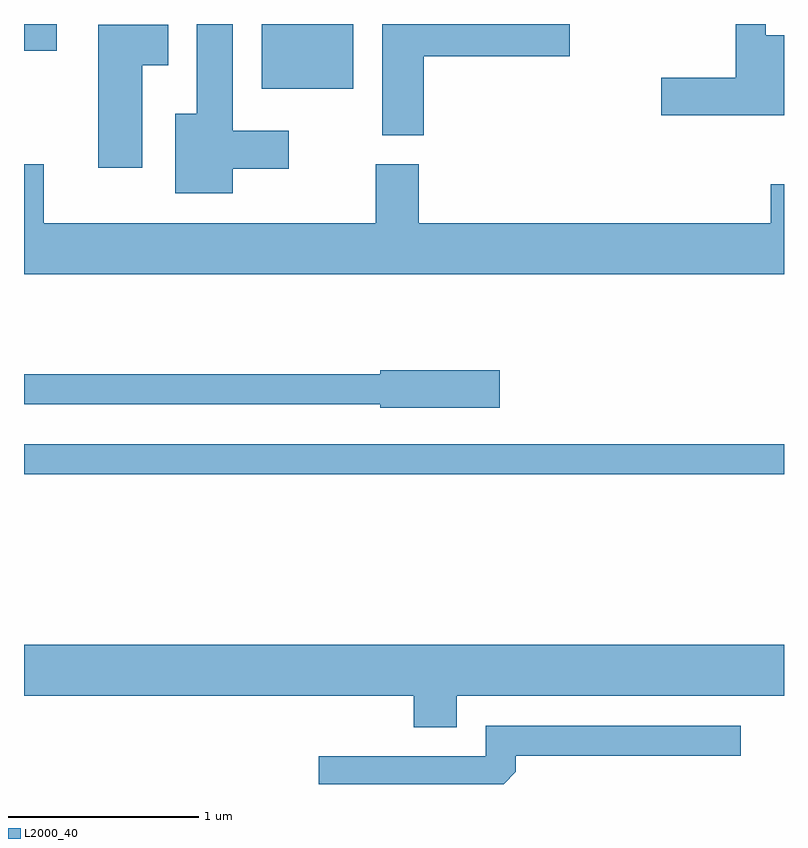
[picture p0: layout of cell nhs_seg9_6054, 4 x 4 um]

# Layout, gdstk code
import gdstk
lib = gdstk.Library(unit=1e-6, precision=1e-09)
def R(c, l, rs):  # rectangles x0, y0, x1, y1
    for r in rs: c.add(gdstk.rectangle(r[:2], r[2:], *l))
def P(c, l, *ps):  # polygons
    for p in ps: c.add(gdstk.Polygon(p, *l))
L2000_40 = (2000, 40)

nhs_seg9_6054 = lib.new_cell('nhs_seg9_6054')
R(nhs_seg9_6054, L2000_40, [(363.611,2024.061,367.611,2024.219), (364.861,2026.091,365.344,2026.432), (363.611,2026.291,363.784,2026.432)])
P(nhs_seg9_6054, L2000_40, [(364.709,2025.671),(365.004,2025.671),(365.004,2025.869),(364.709,2025.869),(364.709,2026.432),(364.521,2026.432),(364.521,2025.959),(364.406,2025.959),(364.406,2025.541),(364.709,2025.541)],
  [(365.714,2026.261),(366.484,2026.261),(366.484,2026.432),(365.496,2026.432),(365.496,2025.846),(365.714,2025.846)],
  [(367.611,2026.374),(367.514,2026.374),(367.514,2026.432),(367.356,2026.432),(367.356,2026.149),(366.966,2026.149),(366.966,2025.951),(367.611,2025.951)],
  [(364.234,2026.216),(364.369,2026.216),(364.369,2026.429),(364.001,2026.429),(364.001,2025.676),(364.234,2025.676)],
  [(367.611,2025.589),(367.541,2025.589),(367.541,2025.384),(365.689,2025.384),(365.689,2025.694),(365.461,2025.694),(365.461,2025.384),(363.714,2025.384),(363.714,2025.694),(363.611,2025.694),(363.611,2025.116),(367.611,2025.116)],
  [(366.114,2024.609),(365.486,2024.609),(365.486,2024.589),(363.611,2024.589),(363.611,2024.431),(365.486,2024.431),(365.486,2024.411),(366.114,2024.411)],
  [(365.889,2022.896),(367.611,2022.896),(367.611,2023.164),(363.611,2023.164),(363.611,2022.896),(365.661,2022.896),(365.661,2022.731),(365.889,2022.731)],
  [(366.199,2022.497),(366.199,2022.581),(367.383,2022.581),(367.383,2022.739),(366.041,2022.739),(366.041,2022.579),(365.163,2022.579),(365.163,2022.432),(366.135,2022.432)])

lib.write_gds('nhs_seg9_6054.gds')
